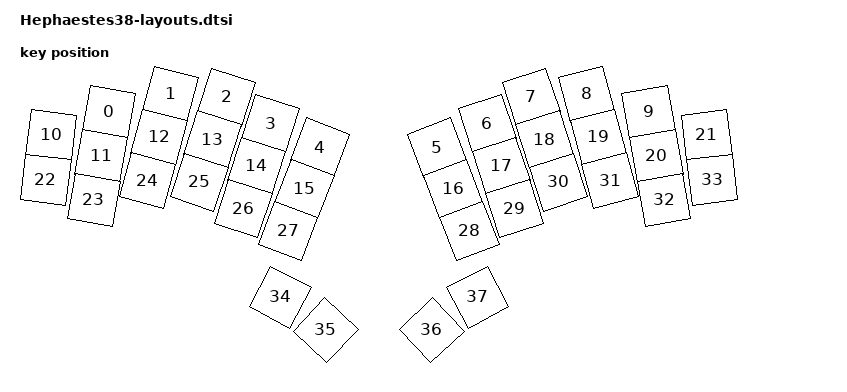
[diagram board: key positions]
 #include <physical_layouts.dtsi>


/ {
    physical_layout0: physical_layout_0 { // First physical layout, use different naming for other layouts
        compatible = "zmk,physical-layout";
        display-name = "Default Layout";
        //kscan = <default_kscan>;  Label of the kscan node, optional if all layouts use the same
        transform = <&default_transform>; // Label of the matrix transform for this layout

                keys  //                     w   h    x    y     rot    rx    ry
            = <&key_physical_attrs 100 100  127   35    1000   177    85>
            , <&key_physical_attrs 100 100  250    0    1500   300    50>
            , <&key_physical_attrs 100 100  362    6    1800   412    56>
            , <&key_physical_attrs 100 100  450   59    1800   500   109>
            , <&key_physical_attrs 100 100  549  107    2100   599   157>
            , <&key_physical_attrs 100 100  783  107 (-2100)   833   157>
            , <&key_physical_attrs 100 100  883   59 (-1800)   933   109>
            , <&key_physical_attrs 100 100  971    6 (-1800)  1021    56>
            , <&key_physical_attrs 100 100 1082    0 (-1500)  1132    50>
            , <&key_physical_attrs 100 100 1206   35 (-1000)  1256    85>
            , <&key_physical_attrs 100 100   11   82     700    61   132>
            , <&key_physical_attrs 100 100  111  123    1000   161   173>
            , <&key_physical_attrs 100 100  227   86    1500   277   136>
            , <&key_physical_attrs 100 100  334   91    1800   384   141>
            , <&key_physical_attrs 100 100  422  144    1800   472   194>
            , <&key_physical_attrs 100 100  518  190    2100   568   240>
            , <&key_physical_attrs 100 100  815  190 (-2100)   865   240>
            , <&key_physical_attrs 100 100  911  144 (-1800)   961   194>
            , <&key_physical_attrs 100 100  998   91 (-1800)  1048   141>
            , <&key_physical_attrs 100 100 1106   86 (-1500)  1156   136>
            , <&key_physical_attrs 100 100 1222  123 (-1000)  1272   173>
            , <&key_physical_attrs 100 100 1322   82  (-700)  1372   132>
            , <&key_physical_attrs 100 100    0  171     700    50   221>
            , <&key_physical_attrs 100 100   96  211    1000   146   262>
            , <&key_physical_attrs 100 100  204  173    1500   254   223>
            , <&key_physical_attrs 100 100  307  176    1800   357   226>
            , <&key_physical_attrs 100 100  395  229    1800   445   279>
            , <&key_physical_attrs 100 100  485  274    2100   535   324>
            , <&key_physical_attrs 100 100  848  274 (-2100)   898   324>
            , <&key_physical_attrs 100 100  938  229 (-1800)   988   279>
            , <&key_physical_attrs 100 100 1026  176 (-1800)  1076   226>
            , <&key_physical_attrs 100 100 1129  173 (-1500)  1179   223>
            , <&key_physical_attrs 100 100 1237  211 (-1000)  1287   262>
            , <&key_physical_attrs 100 100 1333  171  (-700)  1383   221>
            , <&key_physical_attrs 100 100  469  406    2800   519   456>
            , <&key_physical_attrs 100 100  560  472    4300   610   522>
            , <&key_physical_attrs 100 100  772  472 (-4300)   822   522>
            , <&key_physical_attrs 100 100  864  406 (-2800)   914   456>
            ;
    };
};

/ {
    position_map {
        compatible = "zmk,physical-layout-position-map";

        complete;

        physical_layout0 {
            physical-layout = <&physical_layout0>;
            positions = <>;
        };
    };
};
